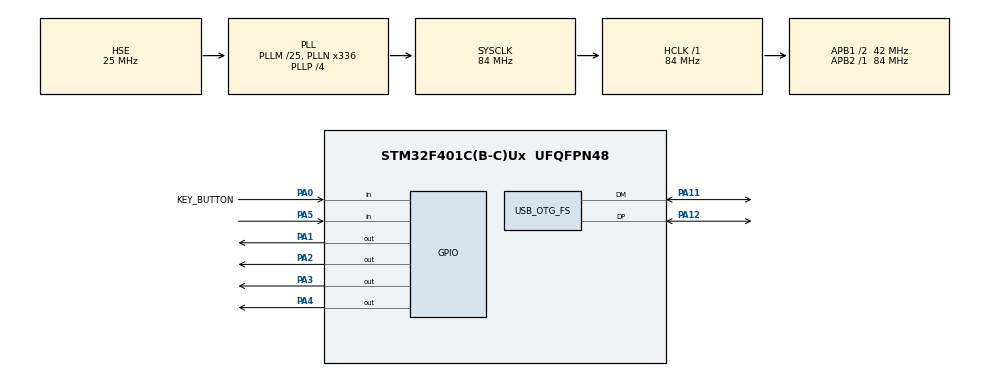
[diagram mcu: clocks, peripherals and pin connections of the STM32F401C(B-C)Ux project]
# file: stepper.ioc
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Mcu.Family=STM32F4
Mcu.Name=STM32F401C(B-C)Ux
Mcu.Package=UFQFPN48
NVIC.OTG_FS_IRQn=true\:0\:0\:false\:false\:true\:false\:true
NVIC.PriorityGroup=NVIC_PRIORITYGROUP_4
PA0-WKUP.GPIO_Label=KEY_BUTTON
PA0-WKUP.GPIO_PuPd=GPIO_PULLUP
PA0-WKUP.Signal=GPIO_Input
PA1.Signal=GPIO_Output
PA11.Mode=Device_Only
PA11.Signal=USB_OTG_FS_DM
PA12.Mode=Device_Only
PA12.Signal=USB_OTG_FS_DP
PA2.Signal=GPIO_Output
PA3.Signal=GPIO_Output
PA4.Signal=GPIO_Output
PA5.GPIO_PuPd=GPIO_PULLUP
PA5.Signal=GPIO_Input
PH0\ -\ OSC_IN.Mode=HSE-External-Oscillator
PH0\ -\ OSC_IN.Signal=RCC_OSC_IN
PH1\ -\ OSC_OUT.Mode=HSE-External-Oscillator
PH1\ -\ OSC_OUT.Signal=RCC_OSC_OUT
ProjectManager.HeapSize=0x200
ProjectManager.StackSize=0x400
ProjectManager.TargetToolchain=Makefile
RCC.48MHZClocksFreq_Value=48000000
RCC.AHBFreq_Value=84000000
RCC.APB1CLKDivider=RCC_HCLK_DIV2
RCC.APB1Freq_Value=42000000
RCC.APB1TimFreq_Value=84000000
RCC.APB2Freq_Value=84000000
RCC.APB2TimFreq_Value=84000000
RCC.CortexFreq_Value=84000000
RCC.HCLKFreq_Value=84000000
RCC.HSE_VALUE=25000000
RCC.HSI_VALUE=16000000
RCC.LSE_VALUE=32768
RCC.PLLM=25
RCC.PLLN=336
RCC.PLLP=RCC_PLLP_DIV4
RCC.PLLQ=7
RCC.SYSCLKFreq_VALUE=84000000
RCC.SYSCLKSource=RCC_SYSCLKSOURCE_PLLCLK
RCC.VCOOutputFreq_Value=336000000
TIM5.Prescaler=48
USB_DEVICE.APP_RX_DATA_SIZE=128
USB_DEVICE.APP_TX_DATA_SIZE=128
USB_DEVICE.CLASS_NAME_FS=CDC
USB_DEVICE.VirtualMode=Cdc
USB_DEVICE.VirtualModeFS=Cdc_FS
USB_OTG_FS.VirtualMode=Device_Only
VP_TIM5_VS_ClockSourceINT.Mode=Internal
VP_USB_DEVICE_VS_USB_DEVICE_CDC_FS.Mode=CDC_FS
board=custom

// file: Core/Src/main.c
/* USER CODE BEGIN Header */
/**
  ******************************************************************************
  * @file           : main.c
  * @brief          : Main program body
  ******************************************************************************
  * @attention
  *
  * <h2><center>&copy; Copyright (c) 2021 STMicroelectronics.
  * All rights reserved.</center></h2>
  *
  * This software component is licensed by ST under BSD 3-Clause license,
  * the "License"; You may not use this file except in compliance with the
  * License. You may obtain a copy of the License at:
  *                        opensource.org/licenses/BSD-3-Clause
  *
  ******************************************************************************
  */
/* USER CODE END Header */
#include "main.h"
#include "usb_device.h"

/* USER CODE BEGIN Includes */
#include "config.h"
#include "stepper.h"
/* USER CODE END Includes */

/* USER CODE BEGIN PTD */
typedef enum {SIDLE, SRUN, SRETRACT} state_t;

/* USER CODE END PTD */

TIM_HandleTypeDef htim5;

/* USER CODE BEGIN PV */
static stepCtx_t stepCtx;
static state_t sstate;

/* USER CODE END PV */

void SystemClock_Config(void);
static void MX_GPIO_Init(void);
static void MX_TIM5_Init(void);

int main(void)
{

  /* MCU Configuration--------------------------------------------------------*/

  /* Reset of all peripherals, Initializes the Flash interface and the Systick. */
  HAL_Init();

  /* Configure the system clock */
  SystemClock_Config();

  /* Initialize all configured peripherals */
  MX_GPIO_Init();
  MX_USB_DEVICE_Init();
  MX_TIM5_Init();
  /* USER CODE BEGIN 2 */
  HAL_TIM_Base_Start_IT(&htim5);
  step_init(&stepCtx, 4096, 1e6);
  sstate = SRUN;
  /* USER CODE END 2 */

  /* Infinite loop */
  while (1)
  {

    /* USER CODE BEGIN 3 */
    step_func(&stepCtx, __HAL_TIM_GET_COUNTER(&htim5));
    switch(sstate) {
      case SIDLE :
        if (GPIO_PIN_RESET == HAL_GPIO_ReadPin(KEY_BUTTON_GPIO_Port, KEY_BUTTON_Pin)) {
            step_cw(&stepCtx, 0.2, 4096);
            sstate = SRUN;
        }
        break;
      case SRUN:
        if (!step_isRunning(&stepCtx)) {
            step_ccw(&stepCtx, 0.2, 4096/16);
            sstate = SRETRACT;
        }
        break;
      case SRETRACT:
        if (!step_isRunning(&stepCtx)) {
            sstate = SIDLE;
        }
        break;
    }
  }
  /* USER CODE END 3 */
}

void SystemClock_Config(void)
{
  RCC_OscInitTypeDef RCC_OscInitStruct = {0};
  RCC_ClkInitTypeDef RCC_ClkInitStruct = {0};

  /** Configure the main internal regulator output voltage
  */
  __HAL_RCC_PWR_CLK_ENABLE();
  __HAL_PWR_VOLTAGESCALING_CONFIG(PWR_REGULATOR_VOLTAGE_SCALE2);
  /** Initializes the RCC Oscillators according to the specified parameters
  * in the RCC_OscInitTypeDef structure.
  */
  RCC_OscInitStruct.OscillatorType = RCC_OSCILLATORTYPE_HSE;
  RCC_OscInitStruct.HSEState = RCC_HSE_ON;
  RCC_OscInitStruct.PLL.PLLState = RCC_PLL_ON;
  RCC_OscInitStruct.PLL.PLLSource = RCC_PLLSOURCE_HSE;
  RCC_OscInitStruct.PLL.PLLM = 25;
  RCC_OscInitStruct.PLL.PLLN = 336;
  RCC_OscInitStruct.PLL.PLLP = RCC_PLLP_DIV4;
  RCC_OscInitStruct.PLL.PLLQ = 7;
  if (HAL_RCC_OscConfig(&RCC_OscInitStruct) != HAL_OK)
  {
    Error_Handler();
  }
  /** Initializes the CPU, AHB and APB buses clocks
  */
  RCC_ClkInitStruct.ClockType = RCC_CLOCKTYPE_HCLK|RCC_CLOCKTYPE_SYSCLK
                              |RCC_CLOCKTYPE_PCLK1|RCC_CLOCKTYPE_PCLK2;
  RCC_ClkInitStruct.SYSCLKSource = RCC_SYSCLKSOURCE_PLLCLK;
  RCC_ClkInitStruct.AHBCLKDivider = RCC_SYSCLK_DIV1;
  RCC_ClkInitStruct.APB1CLKDivider = RCC_HCLK_DIV2;
  RCC_ClkInitStruct.APB2CLKDivider = RCC_HCLK_DIV1;

  if (HAL_RCC_ClockConfig(&RCC_ClkInitStruct, FLASH_LATENCY_2) != HAL_OK)
  {
    Error_Handler();
  }
}

static void MX_TIM5_Init(void)
{

  TIM_ClockConfigTypeDef sClockSourceConfig = {0};
  TIM_MasterConfigTypeDef sMasterConfig = {0};

  htim5.Instance = TIM5;
  htim5.Init.Prescaler = 48;
  htim5.Init.CounterMode = TIM_COUNTERMODE_UP;
  htim5.Init.Period = 4294967295;
  htim5.Init.ClockDivision = TIM_CLOCKDIVISION_DIV1;
  htim5.Init.AutoReloadPreload = TIM_AUTORELOAD_PRELOAD_DISABLE;
  if (HAL_TIM_Base_Init(&htim5) != HAL_OK)
  {
    Error_Handler();
  }
  sClockSourceConfig.ClockSource = TIM_CLOCKSOURCE_INTERNAL;
  if (HAL_TIM_ConfigClockSource(&htim5, &sClockSourceConfig) != HAL_OK)
  {
    Error_Handler();
  }
  sMasterConfig.MasterOutputTrigger = TIM_TRGO_RESET;
  sMasterConfig.MasterSlaveMode = TIM_MASTERSLAVEMODE_DISABLE;
  if (HAL_TIMEx_MasterConfigSynchronization(&htim5, &sMasterConfig) != HAL_OK)
  {
    Error_Handler();
  }

}

static void MX_GPIO_Init(void)
{
  GPIO_InitTypeDef GPIO_InitStruct = {0};

  /* GPIO Ports Clock Enable */
  __HAL_RCC_GPIOH_CLK_ENABLE();
  __HAL_RCC_GPIOA_CLK_ENABLE();

  /*Configure GPIO pin Output Level */
  HAL_GPIO_WritePin(GPIOA, GPIO_PIN_1|GPIO_PIN_2|GPIO_PIN_3|GPIO_PIN_4, GPIO_PIN_RESET);

  /*Configure GPIO pins : KEY_BUTTON_Pin PA5 */
  GPIO_InitStruct.Pin = KEY_BUTTON_Pin|GPIO_PIN_5;
  GPIO_InitStruct.Mode = GPIO_MODE_INPUT;
  GPIO_InitStruct.Pull = GPIO_PULLUP;
  HAL_GPIO_Init(GPIOA, &GPIO_InitStruct);

  /*Configure GPIO pins : PA1 PA2 PA3 PA4 */
  GPIO_InitStruct.Pin = GPIO_PIN_1|GPIO_PIN_2|GPIO_PIN_3|GPIO_PIN_4;
  GPIO_InitStruct.Mode = GPIO_MODE_OUTPUT_PP;
  GPIO_InitStruct.Pull = GPIO_NOPULL;
  GPIO_InitStruct.Speed = GPIO_SPEED_FREQ_LOW;
  HAL_GPIO_Init(GPIOA, &GPIO_InitStruct);

}

void Error_Handler(void)
{
  __disable_irq();
  while (1)
  {
  }
}

/************************ (C) COPYRIGHT STMicroelectronics *****END OF FILE****/
